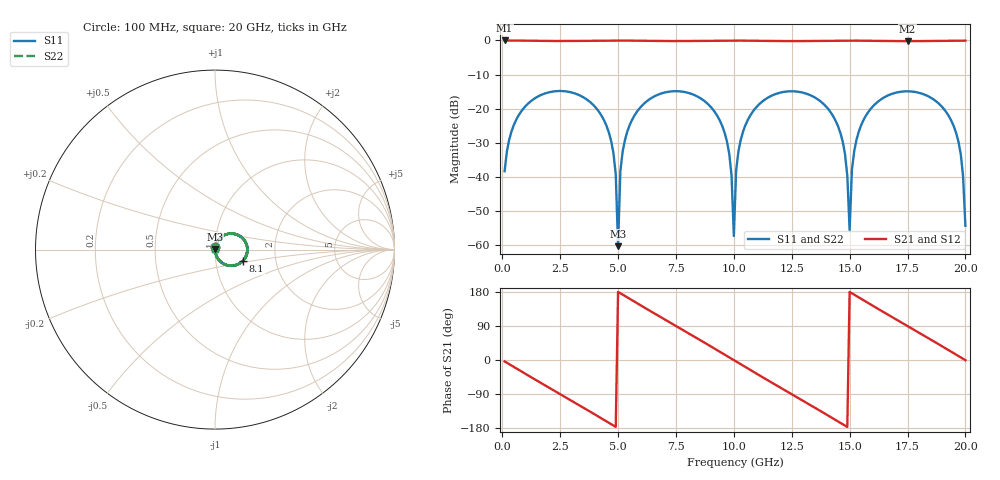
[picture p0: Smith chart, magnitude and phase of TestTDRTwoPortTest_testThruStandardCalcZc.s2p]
! File created by SignalIntegrity v1.1.13: Signal and Power Integrity Tools
! https://github.com/TeledyneLeCroy/SignalIntegrity
# MHz S MA R 50.0
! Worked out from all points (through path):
!   200 points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, 100 MHz to 20 GHz, reference 50 ohm
!   highest |S21| = -0.01 dB at 100 MHz (marker M1); lowest = -0.2 dB at 17.5 GHz (marker M2)
!   group delay of S21, straight-line fit = 100 ps
!   lowest |S11| = -60.3 dB at 5 GHz (marker M3), VSWR 1.00, Z = 50.1 + j0.0679 ohm
!   |S11| at or under -10 dB: start of sweep to end of sweep
!   |S22| runs from -60.3 to -14.8 dB; largest |S21 - S12| = 0
!   S11 on the Smith chart (normalised r, x): 100 MHz: 1.00, +0.02; 8.1 GHz: 1.36, -0.17; 20 GHz: 1.00, +0.00
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100  0.01215 83.3  0.9993 -3.7  0.9993 -3.7  0.01215 83.3
1100  0.1177 48.9  0.9911 -40.2  0.9911 -40.2  0.1177 48.9
3500  0.1471 -36.0  0.9861 -125.7  0.9861 -125.7  0.1471 -36.0
4700  0.0338 -78.5  0.9958 -169.2  0.9958 -169.2  0.0338 -78.5
4900  0.01089 -83.4  0.9962 -176.6  0.9962 -176.6  0.01089 -83.4
5000  0.000968 44.4  0.9962 179.8  0.9962 179.8  0.000968 44.4
5100  0.01225 82.5  0.9961 176.1  0.9961 176.1  0.01225 82.5
5300  0.03512 77.3  0.9955 168.8  0.9955 168.8  0.03512 77.3
6800  0.1642 24.2  0.982 114.6  0.982 114.6  0.1642 24.2
8100  0.1678 -21.7  0.9811 68.5  0.9811 68.5  0.1678 -21.7
9600  0.04462 -74.8  0.9938 14.3  0.9938 14.3  0.04462 -74.8
10000  0.001365 44.5  0.9947 -0.3  0.9947 -0.3  0.001365 44.5
10100  0.01251 81.3  0.9945 -4.0  0.9945 -4.0  0.01251 81.3
11100  0.1167 49.0  0.9875 -40.4  0.9875 -40.4  0.1167 49.0
13400  0.1521 -32.3  0.9823 -122.3  0.9823 -122.3  0.1521 -32.3
14600  0.04432 -74.5  0.9926 -165.7  0.9926 -165.7  0.04432 -74.5
15000  0.001668 44.4  0.9935 179.6  0.9935 179.6  0.001668 44.4
15400  0.04658 73.4  0.9923 165.0  0.9923 165.0  0.04658 73.4
16700  0.1587 27.6  0.9805 118.0  0.9805 118.0  0.1587 27.6
17500  0.1797 -0.6  0.9768 89.6  0.9768 89.6  0.1797 -0.6
19500  0.05507 -71.0  0.9911 17.9  0.9911 17.9  0.05507 -71.0
20000  0.001924 44.4  0.9925 -0.4  0.9925 -0.4  0.001924 44.4
